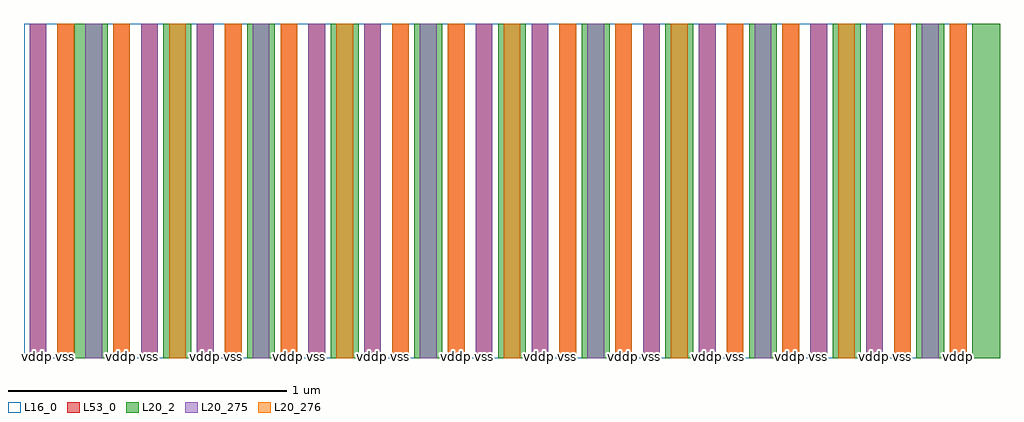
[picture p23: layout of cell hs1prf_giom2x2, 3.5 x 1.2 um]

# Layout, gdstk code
import gdstk
lib = gdstk.Library(unit=1e-6, precision=5e-10)
def R(c, l, rs):  # rectangles x0, y0, x1, y1
    for r in rs: c.add(gdstk.rectangle(r[:2], r[2:], *l))
def A(c, l, x, y, w, h, nx, ny, dx, dy):  # array of equal rectangles
    R(c, l, [(x+i*dx, y+j*dy, x+i*dx+w, y+j*dy+h) for i in range(nx) for j in range(ny)])
L16_0 = (16, 0)
L20_2 = (20, 2)
L20_275 = (20, 275)
L20_276 = (20, 276)
L53_0 = (53, 0)

hs1prf_giom2x2 = lib.new_cell('hs1prf_giom2x2')
R(hs1prf_giom2x2, L16_0, [(0,0,3.5,1.2)])
A(hs1prf_giom2x2, L20_2, 0.5, 0, 0.1, 1.2, 10, 1, 0.3, 0)
R(hs1prf_giom2x2, L20_2, [(0.18,0,0.3,1.2), (3.4,0,3.5,1.2)])
R(hs1prf_giom2x2, L53_0, [(0.02,0,0.08,1.2), (0.12,0,0.18,1.2), (0.32,0,0.38,1.2), (0.42,0,0.48,1.2), (0.62,0,0.68,1.2), (0.72,0,0.78,1.2), (0.92,0,0.98,1.2), (1.02,0,1.08,1.2), (1.22,0,1.28,1.2), (1.32,0,1.38,1.2), (1.52,0,1.58,1.2), (1.62,0,1.68,1.2), (1.82,0,1.88,1.2), (1.92,0,1.98,1.2), (2.12,0,2.18,1.2), (2.22,0,2.28,1.2), (2.42,0,2.48,1.2), (2.52,0,2.58,1.2), (2.72,0,2.78,1.2), (2.82,0,2.88,1.2), (3.02,0,3.08,1.2), (3.12,0,3.18,1.2), (3.32,0,3.38,1.2)])
hs1prf_giom2x2.add(gdstk.FlexPath([(0.05,0),(0.05,1.2)], 0.06, ends="flush", simple_path=True, layer=20, datatype=275))  # L20_275
hs1prf_giom2x2.add(gdstk.FlexPath([(0.15,0),(0.15,1.2)], 0.06, ends="flush", simple_path=True, layer=20, datatype=276))  # L20_276
hs1prf_giom2x2.add(gdstk.FlexPath([(0.25,0),(0.25,1.2)], 0.06, ends="flush", simple_path=True, layer=20, datatype=275))  # L20_275
hs1prf_giom2x2.add(gdstk.FlexPath([(0.35,0),(0.35,1.2)], 0.06, ends="flush", simple_path=True, layer=20, datatype=276))  # L20_276
hs1prf_giom2x2.add(gdstk.FlexPath([(0.45,0),(0.45,1.2)], 0.06, ends="flush", simple_path=True, layer=20, datatype=275))  # L20_275
hs1prf_giom2x2.add(gdstk.FlexPath([(0.55,0),(0.55,1.2)], 0.06, ends="flush", simple_path=True, layer=20, datatype=276))  # L20_276
hs1prf_giom2x2.add(gdstk.FlexPath([(0.65,0),(0.65,1.2)], 0.06, ends="flush", simple_path=True, layer=20, datatype=275))  # L20_275
hs1prf_giom2x2.add(gdstk.FlexPath([(0.75,0),(0.75,1.2)], 0.06, ends="flush", simple_path=True, layer=20, datatype=276))  # L20_276
hs1prf_giom2x2.add(gdstk.FlexPath([(0.85,0),(0.85,1.2)], 0.06, ends="flush", simple_path=True, layer=20, datatype=275))  # L20_275
hs1prf_giom2x2.add(gdstk.FlexPath([(0.95,0),(0.95,1.2)], 0.06, ends="flush", simple_path=True, layer=20, datatype=276))  # L20_276
hs1prf_giom2x2.add(gdstk.FlexPath([(1.05,0),(1.05,1.2)], 0.06, ends="flush", simple_path=True, layer=20, datatype=275))  # L20_275
hs1prf_giom2x2.add(gdstk.FlexPath([(1.15,0),(1.15,1.2)], 0.06, ends="flush", simple_path=True, layer=20, datatype=276))  # L20_276
hs1prf_giom2x2.add(gdstk.FlexPath([(1.25,0),(1.25,1.2)], 0.06, ends="flush", simple_path=True, layer=20, datatype=275))  # L20_275
hs1prf_giom2x2.add(gdstk.FlexPath([(1.35,0),(1.35,1.2)], 0.06, ends="flush", simple_path=True, layer=20, datatype=276))  # L20_276
hs1prf_giom2x2.add(gdstk.FlexPath([(1.45,0),(1.45,1.2)], 0.06, ends="flush", simple_path=True, layer=20, datatype=275))  # L20_275
hs1prf_giom2x2.add(gdstk.FlexPath([(1.55,0),(1.55,1.2)], 0.06, ends="flush", simple_path=True, layer=20, datatype=276))  # L20_276
hs1prf_giom2x2.add(gdstk.FlexPath([(1.65,0),(1.65,1.2)], 0.06, ends="flush", simple_path=True, layer=20, datatype=275))  # L20_275
hs1prf_giom2x2.add(gdstk.FlexPath([(1.75,0),(1.75,1.2)], 0.06, ends="flush", simple_path=True, layer=20, datatype=276))  # L20_276
hs1prf_giom2x2.add(gdstk.FlexPath([(1.85,0),(1.85,1.2)], 0.06, ends="flush", simple_path=True, layer=20, datatype=275))  # L20_275
hs1prf_giom2x2.add(gdstk.FlexPath([(1.95,0),(1.95,1.2)], 0.06, ends="flush", simple_path=True, layer=20, datatype=276))  # L20_276
hs1prf_giom2x2.add(gdstk.FlexPath([(2.05,0),(2.05,1.2)], 0.06, ends="flush", simple_path=True, layer=20, datatype=275))  # L20_275
hs1prf_giom2x2.add(gdstk.FlexPath([(2.15,0),(2.15,1.2)], 0.06, ends="flush", simple_path=True, layer=20, datatype=276))  # L20_276
hs1prf_giom2x2.add(gdstk.FlexPath([(2.25,0),(2.25,1.2)], 0.06, ends="flush", simple_path=True, layer=20, datatype=275))  # L20_275
hs1prf_giom2x2.add(gdstk.FlexPath([(2.35,0),(2.35,1.2)], 0.06, ends="flush", simple_path=True, layer=20, datatype=276))  # L20_276
hs1prf_giom2x2.add(gdstk.FlexPath([(2.45,0),(2.45,1.2)], 0.06, ends="flush", simple_path=True, layer=20, datatype=275))  # L20_275
hs1prf_giom2x2.add(gdstk.FlexPath([(2.55,0),(2.55,1.2)], 0.06, ends="flush", simple_path=True, layer=20, datatype=276))  # L20_276
hs1prf_giom2x2.add(gdstk.FlexPath([(2.65,0),(2.65,1.2)], 0.06, ends="flush", simple_path=True, layer=20, datatype=275))  # L20_275
hs1prf_giom2x2.add(gdstk.FlexPath([(2.75,0),(2.75,1.2)], 0.06, ends="flush", simple_path=True, layer=20, datatype=276))  # L20_276
hs1prf_giom2x2.add(gdstk.FlexPath([(2.85,0),(2.85,1.2)], 0.06, ends="flush", simple_path=True, layer=20, datatype=275))  # L20_275
hs1prf_giom2x2.add(gdstk.FlexPath([(2.95,0),(2.95,1.2)], 0.06, ends="flush", simple_path=True, layer=20, datatype=276))  # L20_276
hs1prf_giom2x2.add(gdstk.FlexPath([(3.05,0),(3.05,1.2)], 0.06, ends="flush", simple_path=True, layer=20, datatype=275))  # L20_275
hs1prf_giom2x2.add(gdstk.FlexPath([(3.15,0),(3.15,1.2)], 0.06, ends="flush", simple_path=True, layer=20, datatype=276))  # L20_276
hs1prf_giom2x2.add(gdstk.FlexPath([(3.25,0),(3.25,1.2)], 0.06, ends="flush", simple_path=True, layer=20, datatype=275))  # L20_275
hs1prf_giom2x2.add(gdstk.FlexPath([(3.35,0),(3.35,1.2)], 0.06, ends="flush", simple_path=True, layer=20, datatype=276))  # L20_276
hs1prf_giom2x2.add(gdstk.Label('vddp', (0.05,0.005), layer=60, texttype=0))
hs1prf_giom2x2.add(gdstk.Label('vss', (0.15,0.005), layer=60, texttype=0))
hs1prf_giom2x2.add(gdstk.Label('vddpi', (0.25,0.005), layer=60, texttype=0))
hs1prf_giom2x2.add(gdstk.Label('vddp', (0.35,0.005), layer=60, texttype=0))
hs1prf_giom2x2.add(gdstk.Label('vss', (0.45,0.005), layer=60, texttype=0))
hs1prf_giom2x2.add(gdstk.Label('vddpi', (0.55,0.005), layer=60, texttype=0))
hs1prf_giom2x2.add(gdstk.Label('vddp', (0.65,0.005), layer=60, texttype=0))
hs1prf_giom2x2.add(gdstk.Label('vss', (0.75,0.005), layer=60, texttype=0))
hs1prf_giom2x2.add(gdstk.Label('vddpi', (0.85,0.005), layer=60, texttype=0))
hs1prf_giom2x2.add(gdstk.Label('vddp', (0.95,0.005), layer=60, texttype=0))
hs1prf_giom2x2.add(gdstk.Label('vss', (1.05,0.005), layer=60, texttype=0))
hs1prf_giom2x2.add(gdstk.Label('vddpi', (1.15,0.005), layer=60, texttype=0))
hs1prf_giom2x2.add(gdstk.Label('vddp', (1.25,0.005), layer=60, texttype=0))
hs1prf_giom2x2.add(gdstk.Label('vss', (1.35,0.005), layer=60, texttype=0))
hs1prf_giom2x2.add(gdstk.Label('vddpi', (1.45,0.005), layer=60, texttype=0))
hs1prf_giom2x2.add(gdstk.Label('vddp', (1.55,0.005), layer=60, texttype=0))
hs1prf_giom2x2.add(gdstk.Label('vss', (1.65,0.005), layer=60, texttype=0))
hs1prf_giom2x2.add(gdstk.Label('vddpi', (1.75,0.005), layer=60, texttype=0))
hs1prf_giom2x2.add(gdstk.Label('vddp', (1.85,0.005), layer=60, texttype=0))
hs1prf_giom2x2.add(gdstk.Label('vss', (1.95,0.005), layer=60, texttype=0))
hs1prf_giom2x2.add(gdstk.Label('vddpi', (2.05,0.005), layer=60, texttype=0))
hs1prf_giom2x2.add(gdstk.Label('vddp', (2.15,0.005), layer=60, texttype=0))
hs1prf_giom2x2.add(gdstk.Label('vss', (2.25,0.005), layer=60, texttype=0))
hs1prf_giom2x2.add(gdstk.Label('vddpi', (2.35,0.005), layer=60, texttype=0))
hs1prf_giom2x2.add(gdstk.Label('vddp', (2.45,0.005), layer=60, texttype=0))
hs1prf_giom2x2.add(gdstk.Label('vss', (2.55,0.005), layer=60, texttype=0))
hs1prf_giom2x2.add(gdstk.Label('vddpi', (2.65,0.005), layer=60, texttype=0))
hs1prf_giom2x2.add(gdstk.Label('vddp', (2.75,0.005), layer=60, texttype=0))
hs1prf_giom2x2.add(gdstk.Label('vss', (2.85,0.005), layer=60, texttype=0))
hs1prf_giom2x2.add(gdstk.Label('vddpi', (2.95,0.005), layer=60, texttype=0))
hs1prf_giom2x2.add(gdstk.Label('vddp', (3.05,0.005), layer=60, texttype=0))
hs1prf_giom2x2.add(gdstk.Label('vss', (3.15,0.005), layer=60, texttype=0))
hs1prf_giom2x2.add(gdstk.Label('vddpi', (3.25,0.005), layer=60, texttype=0))
hs1prf_giom2x2.add(gdstk.Label('vddp', (3.35,0.005), layer=60, texttype=0))

lib.write_gds('hs1prf_giom2x2.gds')
